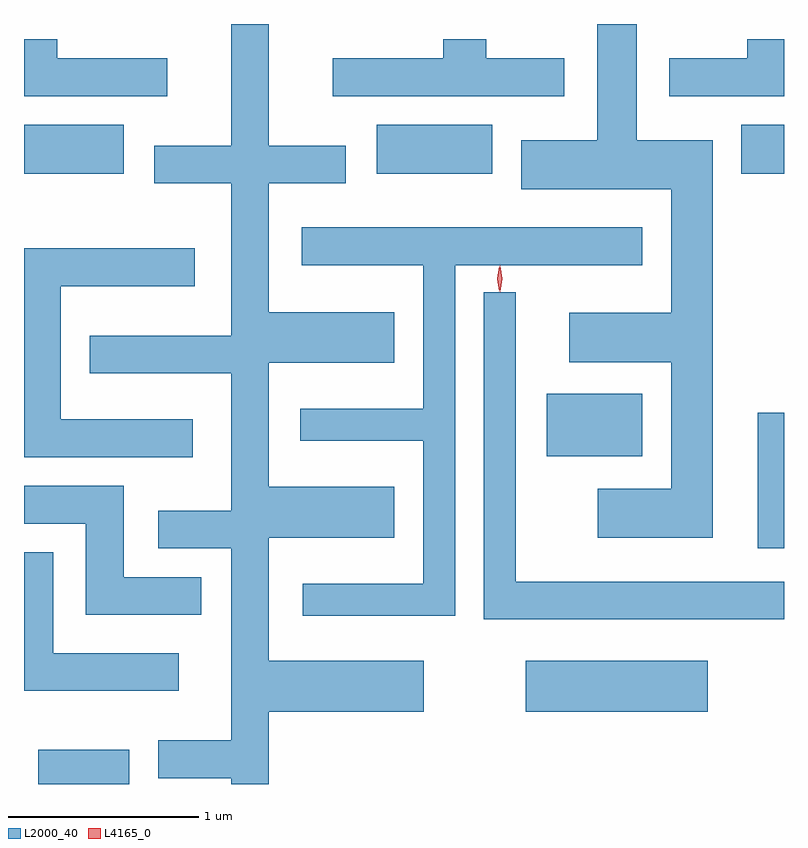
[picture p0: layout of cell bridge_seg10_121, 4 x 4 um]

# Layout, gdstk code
import gdstk
lib = gdstk.Library(unit=1e-6, precision=1e-09)
def R(c, l, rs):  # rectangles x0, y0, x1, y1
    for r in rs: c.add(gdstk.rectangle(r[:2], r[2:], *l))
def P(c, l, *ps):  # polygons
    for p in ps: c.add(gdstk.Polygon(p, *l))
L2000_40 = (2000, 40)
L4165_0 = (4165, 0)

bridge_seg10_121 = lib.new_cell('bridge_seg10_121')
R(bridge_seg10_121, L2000_40, [(1694.176,2139.585,1694.654,2139.764), (1696.741,2139.966,1697.699,2140.234), (1697.961,2140.826,1698.1,2141.539), (1696.851,2141.311,1697.354,2141.639), (1694.1,2142.796,1694.624,2143.054), (1695.956,2142.796,1696.564,2143.054), (1697.876,2142.796,1698.1,2143.054)])
P(bridge_seg10_121, L2000_40, [(1695.389,2139.966),(1696.204,2139.966),(1696.204,2140.234),(1695.389,2140.234),(1695.389,2140.881),(1696.049,2140.881),(1696.049,2141.149),(1695.389,2141.149),(1695.389,2141.801),(1696.049,2141.801),(1696.049,2142.069),(1695.389,2142.069),(1695.389,2142.746),(1695.794,2142.746),(1695.794,2142.944),(1695.389,2142.944),(1695.389,2143.585),(1695.191,2143.585),(1695.191,2142.944),(1694.786,2142.944),(1694.786,2142.746),(1695.191,2142.746),(1695.191,2141.944),(1694.446,2141.944),(1694.446,2141.746),(1695.191,2141.746),(1695.191,2141.024),(1694.806,2141.024),(1694.806,2140.826),(1695.191,2140.826),(1695.191,2139.814),(1694.806,2139.814),(1694.806,2139.616),(1695.191,2139.616),(1695.191,2139.585),(1695.389,2139.585)],
  [(1697.724,2142.974),(1697.324,2142.974),(1697.324,2143.585),(1697.116,2143.585),(1697.116,2142.974),(1696.716,2142.974),(1696.716,2142.716),(1697.506,2142.716),(1697.506,2142.064),(1696.971,2142.064),(1696.971,2141.806),(1697.506,2141.806),(1697.506,2141.139),(1697.121,2141.139),(1697.121,2140.881),(1697.724,2140.881)],
  [(1698.1,2143.504),(1697.906,2143.504),(1697.906,2143.404),(1697.496,2143.404),(1697.496,2143.206),(1698.1,2143.206)],
  [(1694.854,2143.404),(1694.274,2143.404),(1694.274,2143.504),(1694.1,2143.504),(1694.1,2143.206),(1694.854,2143.206)],
  [(1696.944,2143.404),(1696.534,2143.404),(1696.534,2143.504),(1696.306,2143.504),(1696.306,2143.404),(1695.726,2143.404),(1695.726,2143.206),(1696.944,2143.206)],
  [(1696.369,2142.316),(1697.354,2142.316),(1697.354,2142.514),(1695.561,2142.514),(1695.561,2142.316),(1696.201,2142.316),(1696.201,2141.559),(1695.553,2141.559),(1695.553,2141.391),(1696.201,2141.391),(1696.201,2140.639),(1695.568,2140.639),(1695.568,2140.471),(1696.369,2140.471)],
  [(1694.989,2141.504),(1694.294,2141.504),(1694.294,2142.206),(1694.999,2142.206),(1694.999,2142.404),(1694.1,2142.404),(1694.1,2141.306),(1694.989,2141.306)],
  [(1698.1,2140.649),(1696.689,2140.649),(1696.689,2142.173),(1696.521,2142.173),(1696.521,2140.451),(1698.1,2140.451)],
  [(1695.034,2140.674),(1694.624,2140.674),(1694.624,2141.154),(1694.1,2141.154),(1694.1,2140.956),(1694.426,2140.956),(1694.426,2140.476),(1695.034,2140.476)],
  [(1694.914,2140.274),(1694.254,2140.274),(1694.254,2140.804),(1694.1,2140.804),(1694.1,2140.076),(1694.914,2140.076)])
P(bridge_seg10_121, L4165_0, [(1696.607,2142.174),(1696.606,2142.175),(1696.597,2142.244),(1696.606,2142.313),(1696.607,2142.314),(1696.607,2142.313),(1696.617,2142.244),(1696.607,2142.175)],
  [(1696.601,2142.178),(1696.601,2142.178),(1696.591,2142.244),(1696.6,2142.31),(1696.601,2142.311),(1696.601,2142.31),(1696.611,2142.244),(1696.602,2142.178)])

lib.write_gds('bridge_seg10_121.gds')
